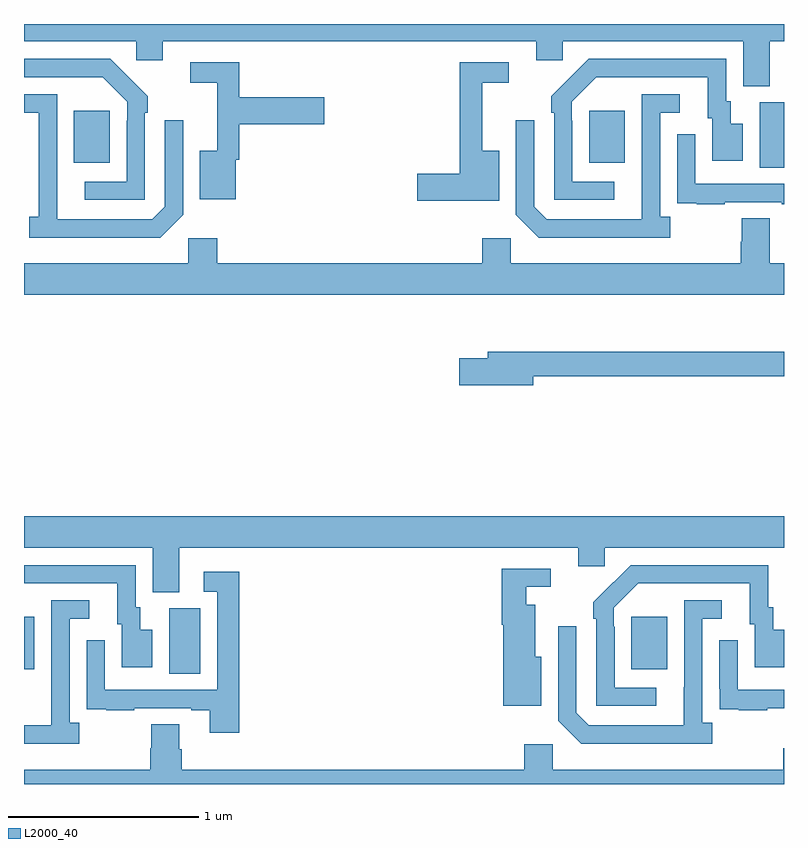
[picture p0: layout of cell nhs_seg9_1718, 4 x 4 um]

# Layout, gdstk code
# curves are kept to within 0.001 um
import gdstk
lib = gdstk.Library(unit=1e-6, precision=1e-09)
def R(c, l, rs):  # rectangles x0, y0, x1, y1
    for r in rs: c.add(gdstk.rectangle(r[:2], r[2:], *l))
def P(c, l, *ps):  # polygons
    for p in ps: c.add(gdstk.Polygon(p, *l))
L2000_40 = (2000, 40)

nhs_seg9_1718 = lib.new_cell('nhs_seg9_1718')
R(nhs_seg9_1718, L2000_40, [(207.764,1205.08,207.928,1205.424), (207,1205.105,207.055,1205.38), (210.197,1205.105,210.385,1205.38), (210.872,1207.744,211,1208.088), (207.263,1207.769,207.451,1208.044), (209.975,1207.769,210.163,1208.044)])
P(nhs_seg9_1718, L2000_40, [(210.925,1208.408),(211,1208.408),(211,1208.5),(207,1208.5),(207,1208.408),(207.591,1208.408),(207.591,1208.31),(207.73,1208.31),(207.73,1208.408),(209.696,1208.408),(209.696,1208.31),(209.835,1208.31),(209.835,1208.408),(210.785,1208.408),(210.785,1208.173),(210.925,1208.173)],
  [(207.636,1208.033),(207.651,1208.033),(207.651,1208.121),(207.454,1208.316),(207,1208.316),(207,1208.22),(207.415,1208.22),(207.543,1208.091),(207.543,1207.991),(207.54,1207.991),(207.54,1207.671),(207.321,1207.671),(207.321,1207.575),(207.636,1207.575)],
  [(210.106,1207.671),(209.886,1207.671),(209.886,1207.991),(209.883,1207.991),(209.883,1208.091),(210.012,1208.22),(210.599,1208.22),(210.599,1208.004),(210.623,1208.004),(210.623,1207.779),(210.784,1207.779),(210.784,1207.975),(210.721,1207.975),(210.721,1208.094),(210.696,1208.094),(210.696,1208.316),(209.972,1208.316),(209.775,1208.121),(209.775,1208.033),(209.79,1208.033),(209.79,1207.575),(210.106,1207.575)],
  [(209.5,1207.834),(209.411,1207.834),(209.411,1208.19),(209.551,1208.19),(209.551,1208.298),(209.293,1208.298),(209.293,1207.712),(209.07,1207.712),(209.07,1207.57),(209.5,1207.57)],
  [(208.114,1207.785),(208.133,1207.785),(208.133,1207.973),(208.579,1207.973),(208.579,1208.115),(208.133,1208.115),(208.133,1208.298),(207.876,1208.298),(207.876,1208.19),(208.016,1208.19),(208.016,1207.834),(207.926,1207.834),(207.926,1207.577),(208.114,1207.577)],
  [(210.4,1207.486),(210.348,1207.486),(210.348,1208.034),(210.451,1208.034),(210.451,1208.13),(210.252,1208.13),(210.251,1207.473),(209.751,1207.473),(209.685,1207.539),(209.685,1207.993),(209.589,1207.993),(209.589,1207.497),(209.71,1207.376),(210.4,1207.376)],
  [(207.837,1207.497),(207.837,1207.993),(207.741,1207.993),(207.741,1207.539),(207.675,1207.473),(207.175,1207.473),(207.174,1208.13),(207,1208.13),(207,1208.034),(207.078,1208.034),(207.078,1207.486),(207.027,1207.486),(207.027,1207.376),(207.716,1207.376)],
  [(210.689,1207.563),(210.989,1207.563),(210.989,1207.551),(211,1207.551),(211,1207.659),(210.534,1207.659),(210.534,1207.921),(210.438,1207.921),(210.438,1207.666),(210.439,1207.666),(210.439,1207.557),(210.541,1207.557),(210.541,1207.551),(210.689,1207.551)],
  [(211,1207.24),(210.925,1207.24),(210.925,1207.478),(210.778,1207.478),(210.778,1207.353),(210.773,1207.353),(210.773,1207.24),(209.562,1207.24),(209.562,1207.372),(209.411,1207.372),(209.411,1207.24),(208.016,1207.24),(208.016,1207.372),(207.864,1207.372),(207.864,1207.24),(207,1207.24),(207,1207.076),(211,1207.076)],
  [(209.68,1206.646),(211,1206.646),(211,1206.775),(209.441,1206.775),(209.441,1206.741),(209.292,1206.741),(209.292,1206.599),(209.68,1206.599)],
  [(207.817,1205.744),(209.918,1205.744),(209.918,1205.646),(210.057,1205.646),(210.057,1205.744),(211,1205.744),(211,1205.908),(207,1205.908),(207,1205.744),(207.677,1205.744),(207.677,1205.509),(207.817,1205.509)],
  [(207.676,1205.311),(207.613,1205.311),(207.613,1205.43),(207.588,1205.43),(207.588,1205.652),(207,1205.652),(207,1205.556),(207.491,1205.556),(207.491,1205.34),(207.515,1205.34),(207.515,1205.115),(207.676,1205.115)],
  [(210.328,1205.007),(210.108,1205.007),(210.108,1205.327),(210.105,1205.327),(210.105,1205.427),(210.234,1205.556),(210.821,1205.556),(210.821,1205.34),(210.845,1205.34),(210.845,1205.115),(211,1205.115),(211,1205.311),(210.943,1205.311),(210.943,1205.43),(210.918,1205.43),(210.918,1205.652),(210.194,1205.652),(209.997,1205.457),(209.997,1205.369),(210.012,1205.369),(210.012,1204.911),(210.328,1204.911)],
  [(209.722,1205.17),(209.692,1205.17),(209.692,1205.443),(209.644,1205.443),(209.644,1205.538),(209.773,1205.538),(209.773,1205.634),(209.515,1205.634),(209.515,1205.339),(209.522,1205.339),(209.522,1204.913),(209.722,1204.913)],
  [(208.133,1205.617),(207.945,1205.617),(207.945,1205.511),(208.017,1205.511),(208.017,1204.995),(207.426,1204.995),(207.426,1205.257),(207.33,1205.257),(207.33,1205.002),(207.331,1205.002),(207.331,1204.893),(207.433,1204.893),(207.433,1204.887),(207.581,1204.887),(207.581,1204.899),(207.881,1204.899),(207.881,1204.887),(207.977,1204.887),(207.977,1204.77),(208.133,1204.77)],
  [(210.622,1204.822),(210.57,1204.822),(210.57,1205.37),(210.673,1205.37),(210.673,1205.466),(210.474,1205.466),(210.473,1204.809),(209.973,1204.809),(209.907,1204.875),(209.907,1205.329),(209.811,1205.329),(209.811,1204.833),(209.932,1204.712),(210.622,1204.712)],
  [(207.292,1204.822),(207.24,1204.822),(207.24,1205.37),(207.343,1205.37),(207.343,1205.466),(207.144,1205.466),(207.144,1205.009),(207.143,1205.009),(207.143,1204.809),(207,1204.809),(207,1204.712),(207.292,1204.712)],
  [(210.911,1204.899),(211,1204.899),(211,1204.995),(210.756,1204.995),(210.756,1205.257),(210.66,1205.257),(210.66,1205.002),(210.661,1205.002),(210.661,1204.893),(210.763,1204.893),(210.763,1204.887),(210.911,1204.887)],
  [(211,1204.689),(210.995,1204.689),(210.995,1204.576),(209.784,1204.576),(209.784,1204.708),(209.633,1204.708),(209.633,1204.576),(207.83,1204.576),(207.83,1204.682),(207.817,1204.682),(207.817,1204.814),(207.67,1204.814),(207.67,1204.689),(207.665,1204.689),(207.665,1204.576),(207,1204.576),(207,1204.5),(211,1204.5)])

lib.write_gds('nhs_seg9_1718.gds')
